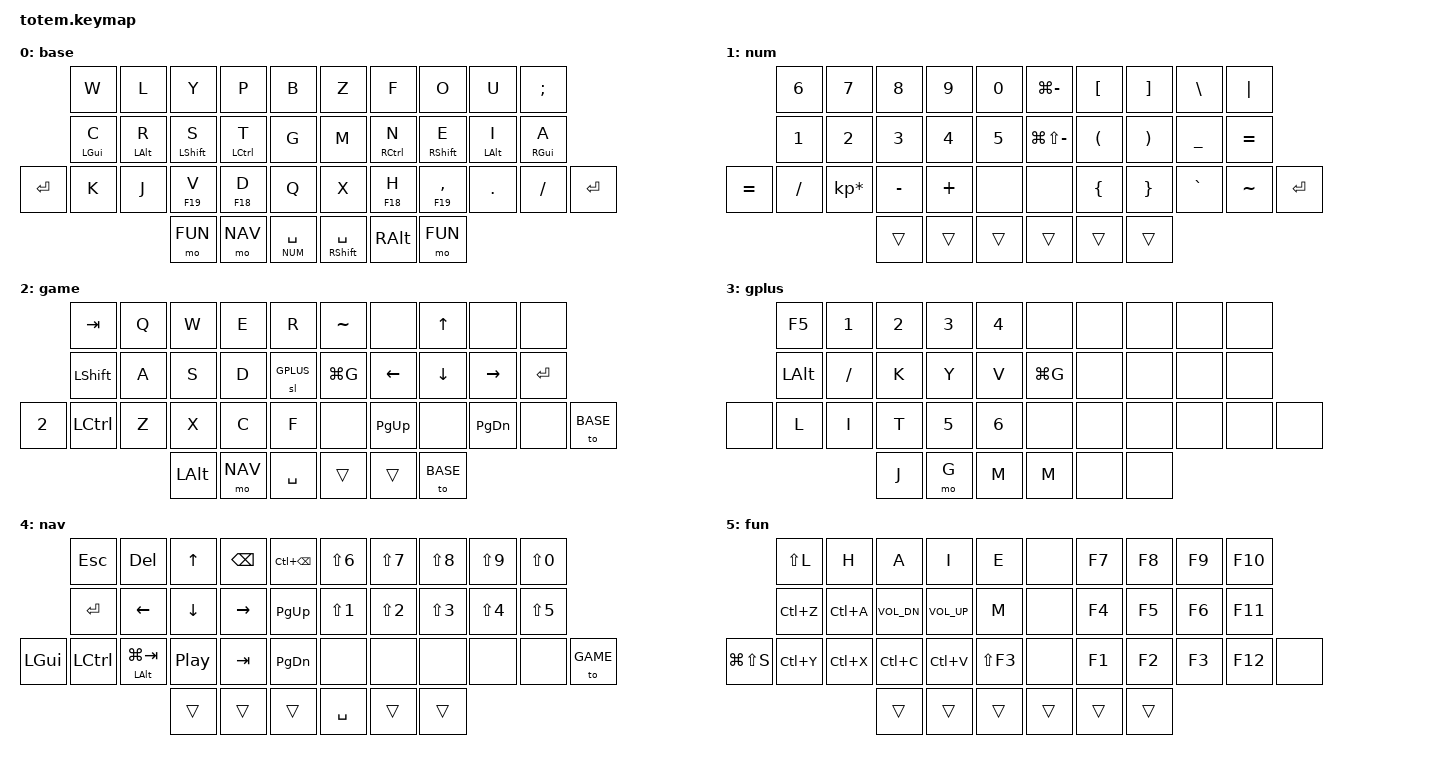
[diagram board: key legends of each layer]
/*
 * TOTEM keymap — przepisany z układu hope56 (56 -> 38 klawiszy)
 *
 * Zmiany wymuszone mniejszą matrycą TOTEM-a:
 *  - usunięty rząd cyfr (row0 z hope56) — cyfry żyją na warstwie NUM, F-klawisze na FUN
 *  - hope56 ma kolumny zewnętrzne w 3 rzędach; TOTEM ma 1 klawisz zewnętrzny TYLKO w dolnym
 *    rzędzie (LB5/RB5). ENTER/BSPC (z domowej kolumny zewn. hope56) przeniesione tam, bo GUI
 *    jest i tak na HRM-ach (C = LGUI hold, A = RGUI hold).
 *  - kciuki 4 -> 3 na rękę: usunięto zewnętrzny FUN po lewej i jeden RALT po prawej.
 */

#include "../zmk-nodefree-config/helper.h"
#include "../zmk-nodefree-config/keypos_def/keypos_38keys.h"
#include <behaviors.dtsi>
#include <dt-bindings/zmk/keys.h>
#include <dt-bindings/zmk/bt.h>
#include <dt-bindings/zmk/outputs.h>
#include <dt-bindings/zmk/rgb.h>

#define ___ &trans

#define BASE  0
#define NUM   1
#define GAME  2
#define GPLUS 3
#define NAV   4
#define FUN   5

// pozycje wyzwalania HRM — wersja dla 38 klawiszy (bez klawiszy zewnętrznych LB5/RB5)
#define KEYS_L LT0 LT1 LT2 LT3 LT4 LM0 LM1 LM2 LM3 LM4 LB0 LB1 LB2 LB3 LB4  // lewa ręka
#define KEYS_R RT0 RT1 RT2 RT3 RT4 RM0 RM1 RM2 RM3 RM4 RB0 RB1 RB2 RB3 RB4  // prawa ręka
#define THUMBS LH2 LH1 LH0 RH0 RH1 RH2                                      // kciuki

#include "combos.dtsi"  // UWAGA: użyj combos.dtsi TOTEM-a (pozycje inne niż w hope56)

// hyper / meh
#define HYP F18
#define MEH F19

#define QUICK_TAP_MS 175

// sticky key aka 'one-shot mods'
&sk {
    release-after-ms = <2000>;
    quick-release;
};

// default layer-tap config
&lt {
    flavor = "balanced";
    tapping-term-ms = <200>;
    quick-tap-ms = <QUICK_TAP_MS>;
};

#define MAKE_HRM(NAME, HOLD, TAP, TRIGGER_POS) \
    ZMK_BEHAVIOR(NAME, hold_tap, \
        flavor = "balanced"; \
        tapping-term-ms = <280>; \
        quick-tap-ms = <QUICK_TAP_MS>; \
        require-prior-idle-ms = <150>; \
        bindings = <HOLD>, <TAP>; \
        hold-trigger-key-positions = <TRIGGER_POS>; \
        hold-trigger-on-release; \
    )

MAKE_HRM(hml, &kp, &kp, KEYS_R THUMBS)  // lewostronne HRMs
MAKE_HRM(hmr, &kp, &kp, KEYS_L THUMBS)  // prawostronne HRMs

/ {
    keymap {
        compatible = "zmk,keymap";

        BASE {
            display-name = "base";
            bindings = <
              &kp W         &kp L          &kp Y          &kp P          &kp B              &kp Z            &kp F            &kp O            &kp U          &kp SEMI
              &hml LGUI C   &hml LALT R    &hml LSHFT S   &hml LCTRL T   &kp G              &kp M            &hmr RCTRL N     &hmr RSHFT E     &hmr LALT I    &hmr RGUI A
&kp ENTER     &kp K         &kp J          &hml MEH V     &hml HYP D     &kp Q              &kp X            &hmr HYP H       &hmr MEH COMMA   &kp PERIOD     &kp SLASH      &kp ENTER
                                           &mo FUN        &mo NAV        &lt NUM SPACE      &mt RSHFT SPACE  &kp RALT         &mo FUN
            >;
        };

        NUM {
            display-name = "num";
            bindings = <
&kp N6        &kp N7           &kp N8     &kp N9    &kp N0                  &kp LG(MINUS)       &kp LEFT_BRACKET      &kp RIGHT_BRACKET      &kp BACKSLASH  &kp PIPE
&kp N1        &kp N2           &kp N3     &kp N4    &kp N5                  &kp LG(LS(MINUS))   &kp LEFT_PARENTHESIS  &kp RIGHT_PARENTHESIS  &kp UNDER      &kp EQUAL
&kp EQUAL     &kp SLASH        &kp KP_MULTIPLY  &kp MINUS  &kp PLUS  &none  &none               &kp LEFT_BRACE        &kp RIGHT_BRACE        &kp GRAVE      &kp TILDE   &kp ENTER
                               ___        ___       ___                     ___        ___                   ___
            >;
        };

        GAME {
            display-name = "game";
            bindings = <
&kp TAB       &kp Q         &kp W      &kp E     &kp R                      &kp TILDE  &none        &kp UP    &none          &none
&kp LSHIFT    &kp A         &kp S      &kp D     &sl GPLUS                  &kp LG(G)  &kp LEFT     &kp DOWN  &kp RIGHT      &kp ENTER
&kp N2        &kp LCTRL     &kp Z      &kp X     &kp C     &kp F            &none      &kp PAGE_UP  &none     &kp PAGE_DOWN  &none     &to BASE
                            &kp LALT   &mo NAV   &kp SPACE                  ___        ___          &to BASE
            >;
        };

        GPLUS {
            display-name = "gplus";
            bindings = <
&kp F5        &kp N1        &kp N2     &kp N3    &kp N4                     &none      &none  &none  &none  &none
&kp LEFT_ALT  &kp SLASH     &kp K      &kp Y     &kp V                      &kp LG(G)  &none  &none  &none  &none
&none         &kp L         &kp I      &kp T     &kp N5    &kp N6           &none      &none  &none  &none  &none  &none
                            &kp J      &mo G     &kp M                  &kp M      &none  &none
            >;
        };

        NAV {
            display-name = "nav";
            bindings = <
              &kp ESC              &kp DEL               &kp UP            &kp BACKSPACE     &kp LC(BACKSPACE)        &kp LS(N6)  &kp LS(N7)  &kp LS(N8)  &kp LS(N9)  &kp LS(N0) 
              &kp ENTER            &kp LEFT              &kp DOWN          &kp RIGHT         &kp PG_UP                &kp LS(N1)  &kp LS(N2)  &kp LS(N3)  &kp LS(N4)  &kp LS(N5)
&kp LEFT_GUI  &kp LEFT_CONTROL     &mt LEFT_ALT LG(TAB)  &kp C_PLAY_PAUSE  &kp TAB           &kp PAGE_DOWN            &none       &none       &none       &none       &none        &to GAME
                                   ___               ___            ___                       &kp SPACE       ___           ___
            >;
        };

        FUN {
            display-name = "fun";
            bindings = <
               &kp LS(L)     &kp H      &kp A            &kp I            &kp E             &none  &kp F7  &kp F8  &kp F9  &kp F10
               &kp LC(Z)     &kp LC(A)  &kp C_VOL_DN     &kp C_VOL_UP     &kp M             &none  &kp F4  &kp F5  &kp F6  &kp F11
&kp LG(LS(S))  &kp LC(Y)     &kp LC(X)  &kp LC(C)        &kp LC(V)        &kp LS(F3)        &none  &kp F1  &kp F2  &kp F3  &kp F12  &none
                               ___              ___             ___                        ___    ___     ___
            >;
        };
    };
};
